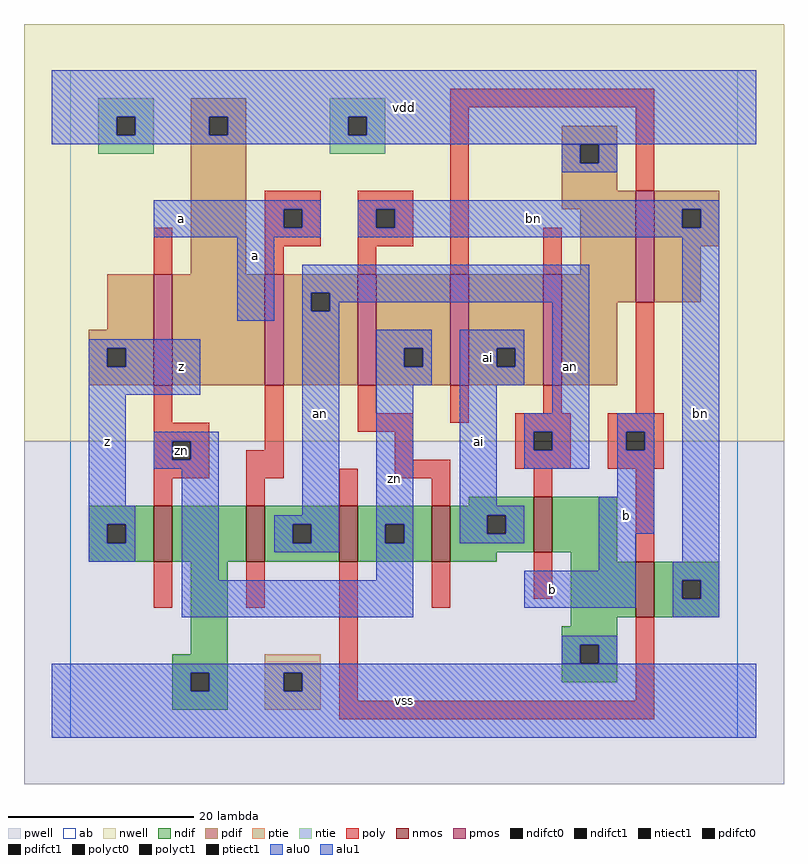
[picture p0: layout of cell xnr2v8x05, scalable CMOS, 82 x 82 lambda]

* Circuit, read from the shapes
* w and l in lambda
.subckt xnr2v8x05 a ai an b bn vdd vss z zn
M1 vss zn z vss nfet w=6 l=2
M2 an a vss vss nfet w=6 l=2
M3 zn b an vss nfet w=6 l=2
M4 ai bn zn vss nfet w=6 l=2
M5 vss an ai vss nfet w=6 l=2
M6 bn b vss vss nfet w=6 l=2
M7 vdd zn z vdd pfet w=12 l=2
M8 an a vdd vdd pfet w=12 l=2
M9 zn bn an vdd pfet w=12 l=2
M10 ai b zn vdd pfet w=12 l=2
M11 vdd an ai vdd pfet w=12 l=2
M12 bn b vdd vdd pfet w=12 l=2
.ends

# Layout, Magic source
magic
tech scmos
<< ab >>
rect 0 0 72 72
<< nwell >>
rect -5 32 77 77
<< pwell >>
rect -5 -5 77 32
<< poly >>
rect 9 50 11 55
rect 41 68 63 70
rect 21 57 27 59
rect 21 55 23 57
rect 25 55 27 57
rect 21 53 27 55
rect 31 57 37 59
rect 31 55 33 57
rect 35 55 37 57
rect 31 53 37 55
rect 21 50 23 53
rect 31 50 33 53
rect 41 50 43 68
rect 61 59 63 68
rect 51 50 53 55
rect 9 34 11 38
rect 9 32 15 34
rect 9 30 11 32
rect 13 30 15 32
rect 21 31 23 38
rect 31 35 33 38
rect 31 33 37 35
rect 41 34 43 38
rect 51 35 53 38
rect 61 35 63 47
rect 9 28 15 30
rect 19 28 23 31
rect 35 30 37 33
rect 48 33 54 35
rect 48 31 50 33
rect 52 31 54 33
rect 9 25 11 28
rect 19 25 21 28
rect 29 25 31 29
rect 35 28 41 30
rect 48 29 54 31
rect 58 33 64 35
rect 58 31 60 33
rect 62 31 64 33
rect 58 29 64 31
rect 39 25 41 28
rect 50 26 52 29
rect 9 14 11 19
rect 19 14 21 19
rect 29 4 31 19
rect 39 14 41 19
rect 50 15 52 20
rect 61 19 63 29
rect 61 4 63 13
rect 29 2 63 4
<< ndif >>
rect 43 25 50 26
rect 2 23 9 25
rect 2 21 4 23
rect 6 21 9 23
rect 2 19 9 21
rect 11 19 19 25
rect 21 23 29 25
rect 21 21 24 23
rect 26 21 29 23
rect 21 19 29 21
rect 31 23 39 25
rect 31 21 34 23
rect 36 21 39 23
rect 31 19 39 21
rect 41 24 50 25
rect 41 22 45 24
rect 47 22 50 24
rect 41 20 50 22
rect 52 20 59 26
rect 41 19 46 20
rect 13 9 17 19
rect 11 7 17 9
rect 11 5 13 7
rect 15 5 17 7
rect 11 3 17 5
rect 54 19 59 20
rect 54 13 61 19
rect 63 17 70 19
rect 63 15 66 17
rect 68 15 70 17
rect 63 13 70 15
rect 54 12 59 13
rect 53 10 59 12
rect 53 8 55 10
rect 57 8 59 10
rect 53 6 59 8
<< pdif >>
rect 13 67 19 69
rect 13 65 15 67
rect 17 65 19 67
rect 13 50 19 65
rect 53 64 59 66
rect 53 62 55 64
rect 57 62 59 64
rect 53 59 59 62
rect 53 57 61 59
rect 55 50 61 57
rect 4 44 9 50
rect 2 42 9 44
rect 2 40 4 42
rect 6 40 9 42
rect 2 38 9 40
rect 11 38 21 50
rect 23 48 31 50
rect 23 46 26 48
rect 28 46 31 48
rect 23 38 31 46
rect 33 42 41 50
rect 33 40 36 42
rect 38 40 41 42
rect 33 38 41 40
rect 43 42 51 50
rect 43 40 46 42
rect 48 40 51 42
rect 43 38 51 40
rect 53 47 61 50
rect 63 57 70 59
rect 63 55 66 57
rect 68 55 70 57
rect 63 53 70 55
rect 63 47 68 53
rect 53 38 59 47
<< alu1 >>
rect -2 67 74 72
rect -2 65 5 67
rect 7 65 15 67
rect 17 65 30 67
rect 32 65 74 67
rect -2 64 74 65
rect 9 57 27 58
rect 9 55 23 57
rect 25 55 27 57
rect 9 54 27 55
rect 18 45 22 54
rect 2 42 14 43
rect 2 40 4 42
rect 6 40 14 42
rect 2 37 14 40
rect 2 25 6 37
rect 2 23 7 25
rect 2 21 4 23
rect 6 21 7 23
rect 2 19 7 21
rect 59 33 63 35
rect 59 31 60 33
rect 62 31 63 33
rect 59 26 63 31
rect 57 22 63 26
rect 57 18 61 22
rect 49 14 61 18
rect -2 7 74 8
rect -2 5 13 7
rect 15 5 23 7
rect 25 5 74 7
rect -2 0 74 5
<< ptie >>
rect 21 7 27 9
rect 21 5 23 7
rect 25 5 27 7
rect 21 3 27 5
<< ntie >>
rect 3 67 9 69
rect 3 65 5 67
rect 7 65 9 67
rect 3 63 9 65
rect 28 67 34 69
rect 28 65 30 67
rect 32 65 34 67
rect 28 63 34 65
<< nmos >>
rect 9 19 11 25
rect 19 19 21 25
rect 29 19 31 25
rect 39 19 41 25
rect 50 20 52 26
rect 61 13 63 19
<< pmos >>
rect 9 38 11 50
rect 21 38 23 50
rect 31 38 33 50
rect 41 38 43 50
rect 51 38 53 50
rect 61 47 63 59
<< polyct0 >>
rect 33 55 35 57
rect 11 30 13 32
rect 50 31 52 33
<< polyct1 >>
rect 23 55 25 57
rect 60 31 62 33
<< ndifct0 >>
rect 24 21 26 23
rect 34 21 36 23
rect 45 22 47 24
rect 66 15 68 17
rect 55 8 57 10
<< ndifct1 >>
rect 4 21 6 23
rect 13 5 15 7
<< ntiect1 >>
rect 5 65 7 67
rect 30 65 32 67
<< ptiect1 >>
rect 23 5 25 7
<< pdifct0 >>
rect 55 62 57 64
rect 26 46 28 48
rect 36 40 38 42
rect 46 40 48 42
rect 66 55 68 57
<< pdifct1 >>
rect 15 65 17 67
rect 4 40 6 42
<< alu0 >>
rect 53 62 55 64
rect 57 62 59 64
rect 53 61 59 62
rect 31 57 70 58
rect 31 55 33 57
rect 35 55 66 57
rect 68 55 70 57
rect 31 54 70 55
rect 25 48 56 51
rect 25 46 26 48
rect 28 47 56 48
rect 28 46 29 47
rect 9 32 16 33
rect 9 30 11 32
rect 13 30 16 32
rect 9 29 16 30
rect 12 17 16 29
rect 25 24 29 46
rect 22 23 29 24
rect 22 21 24 23
rect 26 21 29 23
rect 22 20 29 21
rect 33 42 39 44
rect 33 40 36 42
rect 38 40 39 42
rect 33 38 39 40
rect 42 42 49 44
rect 42 40 46 42
rect 48 40 49 42
rect 42 38 49 40
rect 33 23 37 38
rect 33 21 34 23
rect 36 21 37 23
rect 42 25 46 38
rect 52 35 56 47
rect 49 33 56 35
rect 49 31 50 33
rect 52 31 56 33
rect 49 29 56 31
rect 42 24 49 25
rect 42 22 45 24
rect 47 22 49 24
rect 42 21 49 22
rect 33 17 37 21
rect 66 19 70 54
rect 12 13 37 17
rect 65 17 70 19
rect 65 15 66 17
rect 68 15 70 17
rect 65 13 70 15
rect 53 10 59 11
rect 53 8 55 10
rect 57 8 59 10
<< labels >>
rlabel polyct0 12 31 12 31 6 zn
rlabel alu0 27 35 27 35 6 an
rlabel alu0 45 41 45 41 6 ai
rlabel alu0 44 32 44 32 6 ai
rlabel alu0 35 28 35 28 6 zn
rlabel alu0 54 40 54 40 6 an
rlabel alu0 50 56 50 56 6 bn
rlabel alu0 68 35 68 35 6 bn
rlabel alu1 4 32 4 32 6 z
rlabel alu1 12 40 12 40 6 z
rlabel alu1 12 56 12 56 6 a
rlabel alu1 20 52 20 52 6 a
rlabel alu1 36 4 36 4 6 vss
rlabel alu1 52 16 52 16 6 b
rlabel alu1 36 68 36 68 6 vdd
rlabel alu1 60 24 60 24 6 b
<< end >>
